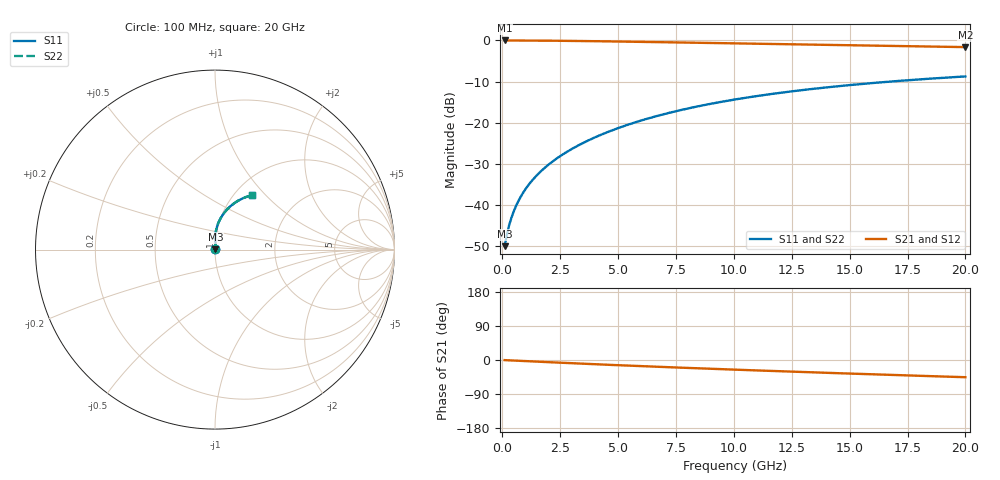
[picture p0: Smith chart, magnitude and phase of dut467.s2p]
! Touchstone file exported from HFSS 2024.1.0
!  File:  C:/UserFiles/LocalFiles/RDL_TSV_Batchsim/temp_RDL_bottom_467_1779685789.aedt
!  Generated:  01:12:40 PM May 25, 2026
!  Design:  RDL_bottom
!  Project:  temp_RDL_bottom_467_1779685789
!  Setup:  Setup1
!  Solution:  Sweep
! Variables:
!  dtsv = 10.80580581um
!  hbump = 3um
!  htsv = 71.76um
!  ldown = 648.66um
!  lrdl = 100um
!  p = 40
!  p1 = 58.86um
!  rhole = 1um
!  t = 450um
!  tdown = 3.3um
!  trdl = 3.915915916um
!  wdown = 29.52um
!  wrdl = 20um
# GHz S MA R 50.000000
! Terminal data exported
! Port[1] = RDL1_T1
! Port[2] = RDL1_T2
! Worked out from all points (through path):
!   200 points, 100 MHz to 20 GHz, reference 50 ohm
!   highest |S21| = -0.02 dB at 100 MHz (marker M1); lowest = -1.6 dB at 20 GHz (marker M2)
!   group delay of S21, straight-line fit = 6.22 ps
!   lowest |S11| = -50.0 dB at 100 MHz (marker M3), VSWR 1.01, Z = 50.3 + j0.176 ohm
!   |S11| at or under -10 dB: start of sweep to 16.78 GHz
!   |S22| runs from -50.0 to -8.8 dB; largest |S21 - S12| = 2.5e-14
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0.1  0.003164 33.6  0.9973 -0.3  0.9973 -0.3  0.003164 33.6
! Gamma 0 0 0 0
! Port Impedance 50 0 50 0
0.2  0.004399 50.4  0.9971 -0.6  0.9971 -0.6  0.004399 50.4
0.3  0.005738 59.0  0.9969 -0.9  0.9969 -0.9  0.005738 59.0
0.4  0.007089 64.5  0.9966 -1.2  0.9966 -1.2  0.007089 64.5
0.5  0.008452 68.4  0.9964 -1.5  0.9964 -1.5  0.008452 68.4
0.6  0.009834 71.5  0.9962 -1.8  0.9962 -1.8  0.009834 71.5
0.8  0.01266 75.8  0.9957 -2.3  0.9957 -2.3  0.01266 75.8
1.1  0.01704 80.0  0.9949 -3.2  0.9949 -3.2  0.01704 80.0
1.3  0.02004 82.0  0.9942 -3.7  0.9942 -3.7  0.02004 82.0
1.6  0.02465 84.1  0.993 -4.6  0.993 -4.6  0.02465 84.1
2.1  0.03262 86.3  0.9906 -6.0  0.9906 -6.0  0.03262 86.3
2.7  0.04269 87.9  0.9869 -7.7  0.9869 -7.7  0.04269 87.9
3.5  0.05694 88.8  0.9811 -9.8  0.9811 -9.8  0.05695 88.8
4.2  0.07014 88.8  0.9754 -11.7  0.9754 -11.7  0.07015 88.8
5  0.08591 88.2  0.9683 -13.7  0.9683 -13.7  0.08594 88.3
6.8  0.1231 85.4  0.9511 -18.1  0.9511 -18.1  0.1232 85.5
8.4  0.157 82.0  0.9355 -21.8  0.9355 -21.8  0.157 82.1
10.1  0.1924 78.1  0.919 -25.6  0.919 -25.6  0.1925 78.1
11.7  0.2247 74.3  0.9037 -29.0  0.9037 -29.0  0.2248 74.3
13.4  0.2572 70.3  0.8877 -32.6  0.8877 -32.6  0.2574 70.3
16.7  0.3149 62.9  0.8573 -39.2  0.8573 -39.2  0.3151 62.9
20  0.3646 56.0  0.8279 -45.4  0.8279 -45.4  0.3649 56.0
